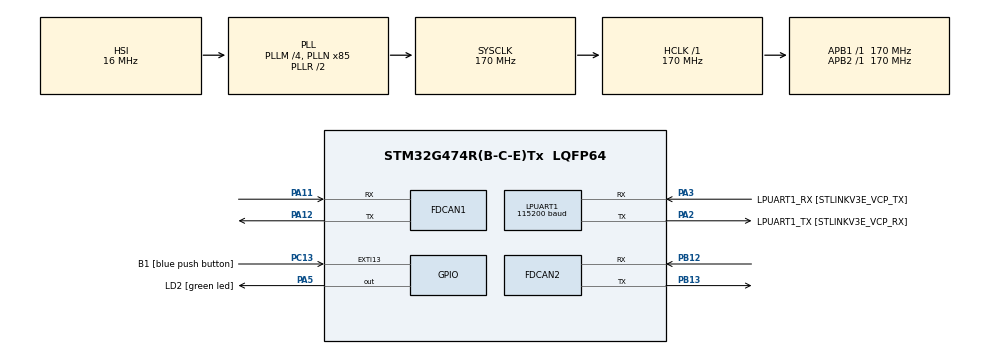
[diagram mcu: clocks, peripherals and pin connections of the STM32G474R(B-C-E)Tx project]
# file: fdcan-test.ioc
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FDCAN1.AutoRetransmission=DISABLE
FDCAN1.CalculateBaudRateNominal=499999
FDCAN1.CalculateTimeBitNominal=2000
FDCAN1.CalculateTimeQuantumNominal=29.411764705882355
FDCAN1.DataPrescaler=5
FDCAN1.DataSyncJumpWidth=4
FDCAN1.DataTimeSeg1=12
FDCAN1.DataTimeSeg2=4
FDCAN1.FrameFormat=FDCAN_FRAME_FD_BRS
FDCAN1.NominalPrescaler=5
FDCAN1.NominalSyncJumpWidth=11
FDCAN1.NominalTimeSeg1=56
FDCAN1.NominalTimeSeg2=11
FDCAN1.ProtocolException=ENABLE
FDCAN1.StdFiltersNbr=1
FDCAN1.TransmitPause=DISABLE
FDCAN2.CalculateBaudRateNominal=499999
FDCAN2.CalculateTimeBitNominal=2000
FDCAN2.CalculateTimeQuantumNominal=29.411764705882355
FDCAN2.DataPrescaler=5
FDCAN2.DataSyncJumpWidth=4
FDCAN2.DataTimeSeg1=12
FDCAN2.DataTimeSeg2=4
FDCAN2.FrameFormat=FDCAN_FRAME_FD_BRS
FDCAN2.NominalPrescaler=5
FDCAN2.NominalSyncJumpWidth=11
FDCAN2.NominalTimeSeg1=56
FDCAN2.NominalTimeSeg2=11
FDCAN2.ProtocolException=ENABLE
FDCAN2.StdFiltersNbr=1
LPUART1.BaudRate=115200
LPUART1.WordLength=UART_WORDLENGTH_8B
Mcu.Family=STM32G4
Mcu.Name=STM32G474R(B-C-E)Tx
Mcu.Package=LQFP64
NVIC.EXTI15_10_IRQn=true\:0\:0\:false\:false\:true\:true\:true\:true
NVIC.FDCAN1_IT0_IRQn=true\:0\:0\:false\:false\:true\:true\:true\:true
NVIC.FDCAN2_IT0_IRQn=true\:0\:0\:false\:false\:true\:true\:true\:true
NVIC.PriorityGroup=NVIC_PRIORITYGROUP_4
PA11.Mode=FDCAN_Activate
PA11.Signal=FDCAN1_RX
PA12.Mode=FDCAN_Activate
PA12.Signal=FDCAN1_TX
PA13.GPIO_Label=T_SWDIO
PA13.Mode=Trace_Asynchronous_SW
PA13.Signal=SYS_JTMS-SWDIO
PA14.GPIO_Label=T_SWCLK
PA14.Mode=Trace_Asynchronous_SW
PA14.Signal=SYS_JTCK-SWCLK
PA2.GPIO_Label=LPUART1_TX [STLINKV3E_VCP_RX]
PA2.Mode=Asynchronous
PA2.Signal=LPUART1_TX
PA3.GPIO_Label=LPUART1_RX [STLINKV3E_VCP_TX]
PA3.Mode=Asynchronous
PA3.Signal=LPUART1_RX
PA5.GPIO_Label=LD2 [green led]
PA5.Signal=GPIO_Output
PB12.Mode=FDCAN_Activate
PB12.Signal=FDCAN2_RX
PB13.Mode=FDCAN_Activate
PB13.Signal=FDCAN2_TX
PB3.GPIO_Label=T_SWO
PB3.Mode=Trace_Asynchronous_SW
PB3.Signal=SYS_JTDO-SWO
PC13.GPIO_Label=B1 [blue push button]
PC13.Signal=GPXTI13
PC14-OSC32_IN.Mode=LSE-External-Oscillator
PC14-OSC32_IN.Signal=RCC_OSC32_IN
PC15-OSC32_OUT.Mode=LSE-External-Oscillator
PC15-OSC32_OUT.Signal=RCC_OSC32_OUT
PF0-OSC_IN.Mode=HSE-External-Oscillator
PF0-OSC_IN.Signal=RCC_OSC_IN
PF1-OSC_OUT.Mode=HSE-External-Oscillator
PF1-OSC_OUT.Signal=RCC_OSC_OUT
ProjectManager.HeapSize=0x200
ProjectManager.StackSize=0x400
ProjectManager.TargetToolchain=STM32CubeIDE
RCC.ADC12Freq_Value=170000000
RCC.ADC345Freq_Value=170000000
RCC.AHBFreq_Value=170000000
RCC.APB1Freq_Value=170000000
RCC.APB1TimFreq_Value=170000000
RCC.APB2Freq_Value=170000000
RCC.APB2TimFreq_Value=170000000
RCC.CortexFreq_Value=170000000
RCC.EXTERNAL_CLOCK_VALUE=12288000
RCC.HCLKFreq_Value=170000000
RCC.HSE_VALUE=24000000
RCC.HSI48_VALUE=48000000
RCC.HSI_VALUE=16000000
RCC.PLLM=RCC_PLLM_DIV4
RCC.PLLN=85
RCC.RTCClockSelection=RCC_RTCCLKSOURCE_LSE
RCC.SYSCLKFreq_VALUE=170000000
RCC.SYSCLKSource=RCC_SYSCLKSOURCE_PLLCLK
RCC.USBFreq_Value=170000000
RCC.VCOOutputFreq_Value=340000000
VP_SYS_VS_DBSignals.Mode=DisableDeadBatterySignals
board=NUCLEO-G474RE

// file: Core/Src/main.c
/* USER CODE BEGIN Header */
/**
  ******************************************************************************
  * @file           : main.c
  * @brief          : Main program body
  ******************************************************************************
  * @attention
  *
  * Copyright (c) 2023 STMicroelectronics.
  * All rights reserved.
  *
  * This software is licensed under terms that can be found in the LICENSE file
  * in the root directory of this software component.
  * If no LICENSE file comes with this software, it is provided AS-IS.
  *
  ******************************************************************************
  */
/* USER CODE END Header */
#include "main.h"

/* USER CODE BEGIN Includes */
#include "stdio.h"
/* USER CODE END Includes */

FDCAN_HandleTypeDef hfdcan1;
FDCAN_HandleTypeDef hfdcan2;

UART_HandleTypeDef hlpuart1;

void SystemClock_Config(void);
static void MX_GPIO_Init(void);
static void MX_LPUART1_UART_Init(void);
static void MX_FDCAN1_Init(void);
static void MX_FDCAN2_Init(void);

/* USER CODE BEGIN 0 */
// begin@2023-05-21/tateo.y
// FDCAN1 Defines
FDCAN_TxHeaderTypeDef	fdcan1TxHeader;
FDCAN_RxHeaderTypeDef	fdcan1RxHeader;
uint8_t		fdcan1TxData[64];
uint8_t		fdcan1RxData[64];

// FDCAN2 Defines
FDCAN_TxHeaderTypeDef   fdcan2TxHeader;
FDCAN_RxHeaderTypeDef   fdcan2RxHeader;
uint8_t		fdcan2TxData[64];
uint8_t		fdcan2RxData[64];

int32_t dataLen = 32;

// FDCAN1 Callback
void HAL_FDCAN_RxFifo0Callback(FDCAN_HandleTypeDef *hfdcan, uint32_t RxFifo0ITs) {
  if((RxFifo0ITs & FDCAN_IT_RX_FIFO0_NEW_MESSAGE) != RESET) {
    /* Retreive Rx messages from RX FIFO0 */
    if (HAL_FDCAN_GetRxMessage(hfdcan, FDCAN_RX_FIFO0, &fdcan1RxHeader, fdcan1RxData) != HAL_OK) {
		/* Reception Error */
		Error_Handler();
    }

    if (HAL_FDCAN_ActivateNotification(hfdcan, FDCAN_IT_RX_FIFO0_NEW_MESSAGE, 0) != HAL_OK) {
      /* Notification Error */
      Error_Handler();
    }

    printf("fdcan1 received data: ");
    // Prepare Tx data for fdcan2
    for (int32_t i = 0; i < dataLen; i++) {
    	fdcan1TxData[i] = fdcan1RxData[i] + 1;
        printf("%d, ", fdcan1RxData[i]);
    }
    printf("\n\r");

    // Put Tx data to Txfifo queue
    if (HAL_FDCAN_AddMessageToTxFifoQ(&hfdcan1, &fdcan1TxHeader, fdcan1TxData)!= HAL_OK) {
  	  Error_Handler();
    }

  }
}

// FDCAN2 Callback
void HAL_FDCAN_RxFifo1Callback(FDCAN_HandleTypeDef *hfdcan, uint32_t RxFifo1ITs)
{
  if((RxFifo1ITs & FDCAN_IT_RX_FIFO1_NEW_MESSAGE) != RESET) {
    /* Retreive Rx messages from RX FIFO0 */
    if (HAL_FDCAN_GetRxMessage(hfdcan, FDCAN_RX_FIFO1, &fdcan2RxHeader, fdcan2RxData) != HAL_OK) {
		/* Reception Error */
		Error_Handler();
    }

    if (HAL_FDCAN_ActivateNotification(hfdcan, FDCAN_IT_RX_FIFO1_NEW_MESSAGE, 0) != HAL_OK) {
      /* Notification Error */
      Error_Handler();
    }

    printf("fdcan2 received data: ");
    // Prepare Tx data for fdcan2
    for (int32_t i = 0; i < dataLen; i++) {
    	fdcan2TxData[i] = fdcan2RxData[i] + 1;
        printf("%d, ", fdcan2RxData[i]);
    }
    printf("\n\r");

    // Put Tx data to Txfifo queue
    if (HAL_FDCAN_AddMessageToTxFifoQ(&hfdcan2, &fdcan2TxHeader, fdcan2TxData)!= HAL_OK) {
  	  Error_Handler();
    }
  }
}

int __io_putchar(uint8_t ch) {
	return ITM_SendChar(ch);
}
// end@2023-05-21/tateo.y
/* USER CODE END 0 */

int main(void)
{

  /* MCU Configuration--------------------------------------------------------*/

  /* Reset of all peripherals, Initializes the Flash interface and the Systick. */
  HAL_Init();

  /* Configure the system clock */
  SystemClock_Config();

  /* Initialize all configured peripherals */
  MX_GPIO_Init();
  MX_LPUART1_UART_Init();
  MX_FDCAN1_Init();
  MX_FDCAN2_Init();
  /* USER CODE BEGIN 2 */
  // begin@2023-05-21/tateo.y
  // STart FDCAN1
  if(HAL_FDCAN_Start(&hfdcan1)!= HAL_OK) {
	  Error_Handler();
  }

  // STart FDCAN2
  if(HAL_FDCAN_Start(&hfdcan2)!= HAL_OK) {
	  Error_Handler();
  }

  // Activate the notification for new data in FIFO0 for FDCAN1
  if (HAL_FDCAN_ActivateNotification(&hfdcan1, FDCAN_IT_RX_FIFO0_NEW_MESSAGE, 0) != HAL_OK) {
    /* Notification Error */
    Error_Handler();
  }

  // Activate the notification for new data in FIFO1 for FDCAN2
  if (HAL_FDCAN_ActivateNotification(&hfdcan2, FDCAN_IT_RX_FIFO1_NEW_MESSAGE, 0) != HAL_OK) {
    /* Notification Error */
    Error_Handler();
  }

  // start|added@2023-05-21/tateo.yanagi
  // Configure TX Header for FDCAN1
  fdcan1TxHeader.Identifier = 0x1;
  fdcan1TxHeader.IdType = FDCAN_STANDARD_ID;
  fdcan1TxHeader.TxFrameType = FDCAN_DATA_FRAME;
  fdcan1TxHeader.DataLength = FDCAN_DLC_BYTES_32;
  fdcan1TxHeader.ErrorStateIndicator = FDCAN_ESI_ACTIVE;
  fdcan1TxHeader.BitRateSwitch = FDCAN_BRS_ON;
  fdcan1TxHeader.FDFormat = FDCAN_FD_CAN;
  fdcan1TxHeader.TxEventFifoControl = FDCAN_NO_TX_EVENTS;
  fdcan1TxHeader.MessageMarker = 0;

  // Configure TX Header for FDCAN2
  fdcan2TxHeader.Identifier = 0x2;
  fdcan2TxHeader.IdType = FDCAN_STANDARD_ID;
  fdcan2TxHeader.TxFrameType = FDCAN_DATA_FRAME;
  fdcan2TxHeader.DataLength = FDCAN_DLC_BYTES_32;
  fdcan2TxHeader.ErrorStateIndicator = FDCAN_ESI_ACTIVE;
  fdcan2TxHeader.BitRateSwitch = FDCAN_BRS_ON;
  fdcan2TxHeader.FDFormat = FDCAN_FD_CAN;
  fdcan2TxHeader.TxEventFifoControl = FDCAN_NO_TX_EVENTS;
  fdcan2TxHeader.MessageMarker = 0;

  // Prepare first Tx data for fdcan1
  for (int32_t i = 0; i < dataLen; i++) {
	  fdcan1TxData[i] = 1;
  }

  // Put Tx data to Txfifo
  if (HAL_FDCAN_AddMessageToTxFifoQ(&hfdcan1, &fdcan1TxHeader, fdcan1TxData)!= HAL_OK) {
	  printf("HAL_FDCAN_AddMessageToTxFifoQ\r\n");
	  Error_Handler();
  }
  // end@2023-05-21/tateo.y
  /* USER CODE END 2 */

  /* Infinite loop */
  while (1) {

  }
}

void SystemClock_Config(void)
{
  RCC_OscInitTypeDef RCC_OscInitStruct = {0};
  RCC_ClkInitTypeDef RCC_ClkInitStruct = {0};

  /** Configure the main internal regulator output voltage
  */
  HAL_PWREx_ControlVoltageScaling(PWR_REGULATOR_VOLTAGE_SCALE1_BOOST);

  /** Initializes the RCC Oscillators according to the specified parameters
  * in the RCC_OscInitTypeDef structure.
  */
  RCC_OscInitStruct.OscillatorType = RCC_OSCILLATORTYPE_HSI;
  RCC_OscInitStruct.HSIState = RCC_HSI_ON;
  RCC_OscInitStruct.HSICalibrationValue = RCC_HSICALIBRATION_DEFAULT;
  RCC_OscInitStruct.PLL.PLLState = RCC_PLL_ON;
  RCC_OscInitStruct.PLL.PLLSource = RCC_PLLSOURCE_HSI;
  RCC_OscInitStruct.PLL.PLLM = RCC_PLLM_DIV4;
  RCC_OscInitStruct.PLL.PLLN = 85;
  RCC_OscInitStruct.PLL.PLLP = RCC_PLLP_DIV2;
  RCC_OscInitStruct.PLL.PLLQ = RCC_PLLQ_DIV2;
  RCC_OscInitStruct.PLL.PLLR = RCC_PLLR_DIV2;
  if (HAL_RCC_OscConfig(&RCC_OscInitStruct) != HAL_OK)
  {
    Error_Handler();
  }

  /** Initializes the CPU, AHB and APB buses clocks
  */
  RCC_ClkInitStruct.ClockType = RCC_CLOCKTYPE_HCLK|RCC_CLOCKTYPE_SYSCLK
                              |RCC_CLOCKTYPE_PCLK1|RCC_CLOCKTYPE_PCLK2;
  RCC_ClkInitStruct.SYSCLKSource = RCC_SYSCLKSOURCE_PLLCLK;
  RCC_ClkInitStruct.AHBCLKDivider = RCC_SYSCLK_DIV1;
  RCC_ClkInitStruct.APB1CLKDivider = RCC_HCLK_DIV1;
  RCC_ClkInitStruct.APB2CLKDivider = RCC_HCLK_DIV1;

  if (HAL_RCC_ClockConfig(&RCC_ClkInitStruct, FLASH_LATENCY_4) != HAL_OK)
  {
    Error_Handler();
  }
}

static void MX_FDCAN1_Init(void)
{

  hfdcan1.Instance = FDCAN1;
  hfdcan1.Init.ClockDivider = FDCAN_CLOCK_DIV1;
  hfdcan1.Init.FrameFormat = FDCAN_FRAME_FD_BRS;
  hfdcan1.Init.Mode = FDCAN_MODE_NORMAL;
  hfdcan1.Init.AutoRetransmission = DISABLE;
  hfdcan1.Init.TransmitPause = DISABLE;
  hfdcan1.Init.ProtocolException = ENABLE;
  hfdcan1.Init.NominalPrescaler = 5;
  hfdcan1.Init.NominalSyncJumpWidth = 11;
  hfdcan1.Init.NominalTimeSeg1 = 56;
  hfdcan1.Init.NominalTimeSeg2 = 11;
  hfdcan1.Init.DataPrescaler = 5;
  hfdcan1.Init.DataSyncJumpWidth = 4;
  hfdcan1.Init.DataTimeSeg1 = 12;
  hfdcan1.Init.DataTimeSeg2 = 4;
  hfdcan1.Init.StdFiltersNbr = 1;
  hfdcan1.Init.ExtFiltersNbr = 0;
  hfdcan1.Init.TxFifoQueueMode = FDCAN_TX_FIFO_OPERATION;
  if (HAL_FDCAN_Init(&hfdcan1) != HAL_OK)
  {
    Error_Handler();
  }
  /* USER CODE BEGIN FDCAN1_Init 2 */
  // begin@2023-05-21/tateo.y
  FDCAN_FilterTypeDef sFilterConfig;
  sFilterConfig.IdType = FDCAN_STANDARD_ID;
  sFilterConfig.FilterIndex = 0;
  sFilterConfig.FilterType = FDCAN_FILTER_MASK;
  sFilterConfig.FilterConfig = FDCAN_FILTER_TO_RXFIFO0;
  sFilterConfig.FilterID1 = 0x2;
  sFilterConfig.FilterID2 = 0x2;
  //sFilterConfig.RxBufferIndex = 0;
  if (HAL_FDCAN_ConfigFilter(&hfdcan1, &sFilterConfig) != HAL_OK) {
    /* Filter configuration Error */
    Error_Handler();
  }
  // end@2023-05-21/tateo.y
  /* USER CODE END FDCAN1_Init 2 */

}

static void MX_FDCAN2_Init(void)
{

  hfdcan2.Instance = FDCAN2;
  hfdcan2.Init.ClockDivider = FDCAN_CLOCK_DIV1;
  hfdcan2.Init.FrameFormat = FDCAN_FRAME_FD_BRS;
  hfdcan2.Init.Mode = FDCAN_MODE_NORMAL;
  hfdcan2.Init.AutoRetransmission = DISABLE;
  hfdcan2.Init.TransmitPause = DISABLE;
  hfdcan2.Init.ProtocolException = ENABLE;
  hfdcan2.Init.NominalPrescaler = 5;
  hfdcan2.Init.NominalSyncJumpWidth = 11;
  hfdcan2.Init.NominalTimeSeg1 = 56;
  hfdcan2.Init.NominalTimeSeg2 = 11;
  hfdcan2.Init.DataPrescaler = 5;
  hfdcan2.Init.DataSyncJumpWidth = 4;
  hfdcan2.Init.DataTimeSeg1 = 12;
  hfdcan2.Init.DataTimeSeg2 = 4;
  hfdcan2.Init.StdFiltersNbr = 1;
  hfdcan2.Init.ExtFiltersNbr = 0;
  hfdcan2.Init.TxFifoQueueMode = FDCAN_TX_FIFO_OPERATION;
  if (HAL_FDCAN_Init(&hfdcan2) != HAL_OK)
  {
    Error_Handler();
  }
  /* USER CODE BEGIN FDCAN2_Init 2 */
  // start@2023-05-21/tateo.y
  FDCAN_FilterTypeDef sFilterConfig;
  sFilterConfig.IdType = FDCAN_STANDARD_ID;
  sFilterConfig.FilterIndex = 0;
  sFilterConfig.FilterType = FDCAN_FILTER_MASK;
  sFilterConfig.FilterConfig = FDCAN_FILTER_TO_RXFIFO1;
  sFilterConfig.FilterID1 = 0x1;
  sFilterConfig.FilterID2 = 0x1;
  //sFilterConfig.RxBufferIndex = 0;
  if (HAL_FDCAN_ConfigFilter(&hfdcan2, &sFilterConfig) != HAL_OK) {
    /* Filter configuration Error */
    Error_Handler();
  }
  // end@2023-05-21/tateo.y
  /* USER CODE END FDCAN2_Init 2 */

}

static void MX_LPUART1_UART_Init(void)
{

  hlpuart1.Instance = LPUART1;
  hlpuart1.Init.BaudRate = 115200;
  hlpuart1.Init.WordLength = UART_WORDLENGTH_8B;
  hlpuart1.Init.StopBits = UART_STOPBITS_1;
  hlpuart1.Init.Parity = UART_PARITY_NONE;
  hlpuart1.Init.Mode = UART_MODE_TX_RX;
  hlpuart1.Init.HwFlowCtl = UART_HWCONTROL_NONE;
  hlpuart1.Init.OneBitSampling = UART_ONE_BIT_SAMPLE_DISABLE;
  hlpuart1.Init.ClockPrescaler = UART_PRESCALER_DIV1;
  hlpuart1.AdvancedInit.AdvFeatureInit = UART_ADVFEATURE_NO_INIT;
  if (HAL_UART_Init(&hlpuart1) != HAL_OK)
  {
    Error_Handler();
  }
  if (HAL_UARTEx_SetTxFifoThreshold(&hlpuart1, UART_TXFIFO_THRESHOLD_1_8) != HAL_OK)
  {
    Error_Handler();
  }
  if (HAL_UARTEx_SetRxFifoThreshold(&hlpuart1, UART_RXFIFO_THRESHOLD_1_8) != HAL_OK)
  {
    Error_Handler();
  }
  if (HAL_UARTEx_DisableFifoMode(&hlpuart1) != HAL_OK)
  {
    Error_Handler();
  }

}

static void MX_GPIO_Init(void)
{
  GPIO_InitTypeDef GPIO_InitStruct = {0};

  /* GPIO Ports Clock Enable */
  __HAL_RCC_GPIOC_CLK_ENABLE();
  __HAL_RCC_GPIOF_CLK_ENABLE();
  __HAL_RCC_GPIOA_CLK_ENABLE();
  __HAL_RCC_GPIOB_CLK_ENABLE();

  /*Configure GPIO pin Output Level */
  HAL_GPIO_WritePin(LD2_GPIO_Port, LD2_Pin, GPIO_PIN_RESET);

  /*Configure GPIO pin : B1_Pin */
  GPIO_InitStruct.Pin = B1_Pin;
  GPIO_InitStruct.Mode = GPIO_MODE_IT_RISING;
  GPIO_InitStruct.Pull = GPIO_NOPULL;
  HAL_GPIO_Init(B1_GPIO_Port, &GPIO_InitStruct);

  /*Configure GPIO pin : LD2_Pin */
  GPIO_InitStruct.Pin = LD2_Pin;
  GPIO_InitStruct.Mode = GPIO_MODE_OUTPUT_PP;
  GPIO_InitStruct.Pull = GPIO_NOPULL;
  GPIO_InitStruct.Speed = GPIO_SPEED_FREQ_LOW;
  HAL_GPIO_Init(LD2_GPIO_Port, &GPIO_InitStruct);

  /* EXTI interrupt init*/
  HAL_NVIC_SetPriority(EXTI15_10_IRQn, 0, 0);
  HAL_NVIC_EnableIRQ(EXTI15_10_IRQn);

}

void Error_Handler(void)
{
  /* USER CODE BEGIN Error_Handler_Debug */
  /* User can add his own implementation to report the HAL error return state */
  __disable_irq();
  while (1) {
	// begin@2023-05-21/tateo.y
	printf("Error detected\r\n");
	HAL_Delay(1000);
	// end@2023-05-21/tateo.y
  }
  /* USER CODE END Error_Handler_Debug */
}
